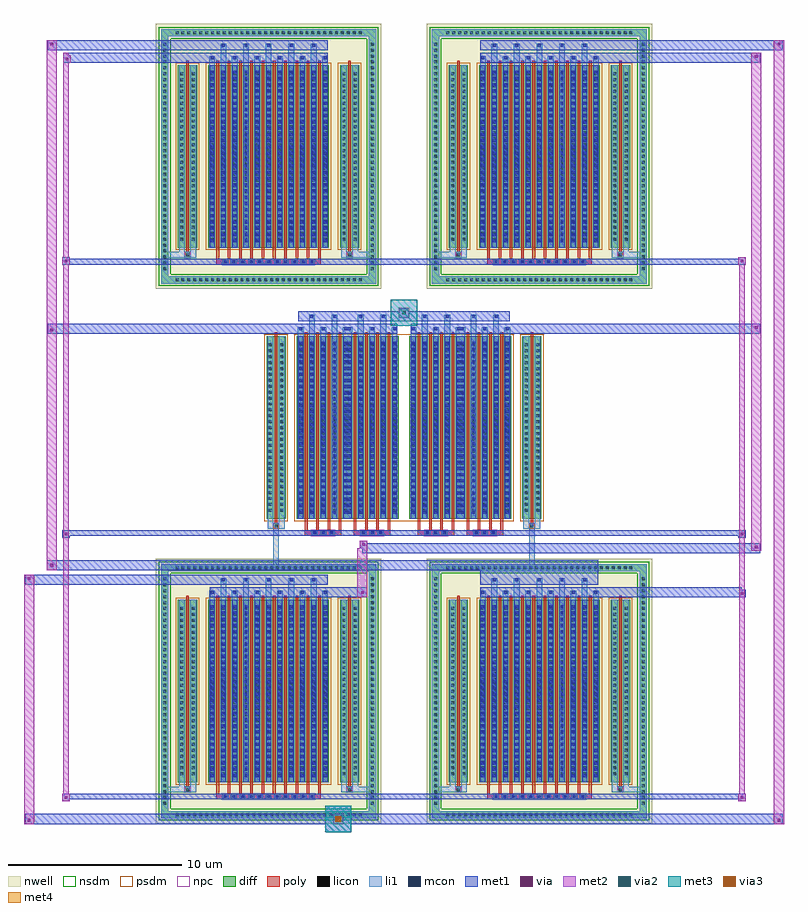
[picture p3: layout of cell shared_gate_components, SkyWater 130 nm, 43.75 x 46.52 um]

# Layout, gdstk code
import gdstk
lib = gdstk.Library(unit=1e-6, precision=5e-09)
def R(c, l, rs):  # rectangles x0, y0, x1, y1
    for r in rs: c.add(gdstk.rectangle(r[:2], r[2:], *l))
def A(c, l, x, y, w, h, nx, ny, dx, dy):  # array of equal rectangles
    R(c, l, [(x+i*dx, y+j*dy, x+i*dx+w, y+j*dy+h) for i in range(nx) for j in range(ny)])
def P(c, l, *ps):  # polygons
    for p in ps: c.add(gdstk.Polygon(p, *l))
nwell = (64, 20)
diff = (65, 20)
poly = (66, 20)
licon = (66, 44)
li1 = (67, 20)
mcon = (67, 44)
met1 = (68, 20)
via = (68, 44)
met2 = (69, 20)
via2 = (69, 44)
met3 = (70, 20)
via3 = (70, 44)
met4 = (71, 20)
nsdm = (93, 44)
psdm = (94, 20)
npc = (95, 20)

multiplier_a07f7352 = lib.new_cell('multiplier_a07f7352')
R(multiplier_a07f7352, diff, [(-3.265,-5.25,-2.165,5.25), (-1.525,-5.25,1.525,5.25)])
A(multiplier_a07f7352, poly, -0.665, -6.23, 0.33, 0.33, 3, 1, 0.5, 0)
A(multiplier_a07f7352, poly, -1.05, -5.9, 0.15, 0.4, 4, 1, 0.65, 0)
A(multiplier_a07f7352, poly, -1.05, -5.5, 0.15, 11, 4, 1, 0.65, 0)
R(multiplier_a07f7352, poly, [(-1.05,-6.23,1.05,-5.9), (-2.88,-5.83,-2.55,-5.5), (-2.88,-5.83,-2.55,-5.5), (-2.79,-5.5,-2.64,5.5)])
A(multiplier_a07f7352, licon, -0.585, -6.15, 0.17, 0.17, 3, 1, 0.5, 0)
A(multiplier_a07f7352, licon, -3.125, -4.845, 0.17, 0.17, 1, 29, 0, 0.34)
A(multiplier_a07f7352, licon, -2.475, -4.845, 0.17, 0.17, 1, 29, 0, 0.34)
A(multiplier_a07f7352, licon, -1.385, -4.845, 0.17, 0.17, 5, 29, 0.65, 0.34)
R(multiplier_a07f7352, licon, [(-2.8,-5.75,-2.63,-5.58)])
A(multiplier_a07f7352, li1, -0.665, -6.23, 0.33, 0.33, 3, 1, 0.5, 0)
A(multiplier_a07f7352, li1, -1.465, -5.25, 0.33, 10.5, 5, 1, 0.65, 0)
A(multiplier_a07f7352, li1, -1.385, -4.945, 0.17, 0.17, 5, 28, 0.65, 0.36)
A(multiplier_a07f7352, li1, -1.385, -4.945, 0.17, 9.89, 5, 1, 0.65, 0)
A(multiplier_a07f7352, li1, -3.205, -4.925, 0.33, 0.33, 1, 29, 0, 0.34)
A(multiplier_a07f7352, li1, -2.555, -4.925, 0.33, 0.33, 1, 29, 0, 0.34)
A(multiplier_a07f7352, li1, -1.465, -4.925, 0.33, 0.33, 5, 29, 0.65, 0.34)
A(multiplier_a07f7352, li1, -1.465, 5.25, 0.33, 0.52, 3, 1, 1.3, 0)
A(multiplier_a07f7352, li1, -1.385, 5.6, 0.17, 0.17, 3, 1, 1.3, 0)
R(multiplier_a07f7352, li1, [(-3.205,-5.83,-2.88,-5.5), (-3.205,-5.83,-2.875,-5.25), (-2.88,-5.83,-2.55,-5.5), (-2.555,-5.83,-2.225,-5.25), (-2.55,-5.83,-2.225,-5.5), (-3.205,-5.25,-2.875,5.25), (-2.555,-5.25,-2.225,5.25), (-0.815,5.25,-0.485,6.49), (0.485,5.25,0.815,6.49), (-0.735,6.32,-0.565,6.49), (0.565,6.32,0.735,6.49)])
A(multiplier_a07f7352, mcon, -0.585, -6.15, 0.17, 0.17, 3, 1, 0.5, 0)
A(multiplier_a07f7352, mcon, -1.385, -4.945, 0.17, 0.17, 5, 28, 0.65, 0.36)
A(multiplier_a07f7352, mcon, -1.385, 5.6, 0.17, 0.17, 3, 1, 1.3, 0)
R(multiplier_a07f7352, mcon, [(-0.735,6.32,-0.565,6.49), (0.565,6.32,0.735,6.49)])
A(multiplier_a07f7352, met1, -0.645, -6.21, 0.29, 0.29, 3, 1, 0.5, 0)
A(multiplier_a07f7352, met1, -1.445, -5.25, 0.29, 10.5, 5, 1, 0.65, 0)
A(multiplier_a07f7352, met1, -1.445, -5.005, 0.29, 0.29, 5, 28, 0.65, 0.36)
A(multiplier_a07f7352, met1, -1.445, 5.54, 0.29, 0.29, 3, 1, 1.3, 0)
R(multiplier_a07f7352, met1, [(-1.05,-6.23,1.05,-5.9), (-1.445,5.395,1.445,5.975), (-1.445,6.115,1.445,6.695), (-0.795,6.26,-0.505,6.55), (0.505,6.26,0.795,6.55)])
R(multiplier_a07f7352, psdm, [(-3.395,-5.38,-2.035,5.38), (-1.655,-5.38,1.655,5.38)])
A(multiplier_a07f7352, npc, -0.685, -6.25, 0.37, 0.37, 3, 1, 0.5, 0)
R(multiplier_a07f7352, npc, [(-0.685,-6.25,0.185,-5.88), (-0.685,-6.25,0.185,-5.88), (-0.185,-6.25,0.685,-5.88), (-0.185,-6.25,0.685,-5.88), (-2.9,-5.85,-2.53,-5.48)])

multiplier_22e959f4 = lib.new_cell('multiplier_22e959f4')
R(multiplier_22e959f4, diff, [(-1.525,-5.25,1.525,5.25)])
A(multiplier_22e959f4, poly, -0.665, -6.23, 0.33, 0.33, 3, 1, 0.5, 0)
A(multiplier_22e959f4, poly, -1.05, -5.9, 0.15, 0.4, 4, 1, 0.65, 0)
A(multiplier_22e959f4, poly, -1.05, -5.5, 0.15, 11, 4, 1, 0.65, 0)
R(multiplier_22e959f4, poly, [(-1.05,-6.23,1.05,-5.9)])
A(multiplier_22e959f4, licon, -0.585, -6.15, 0.17, 0.17, 3, 1, 0.5, 0)
A(multiplier_22e959f4, licon, -1.385, -4.845, 0.17, 0.17, 5, 29, 0.65, 0.34)
A(multiplier_22e959f4, li1, -0.665, -6.23, 0.33, 0.33, 3, 1, 0.5, 0)
A(multiplier_22e959f4, li1, -1.465, -5.25, 0.33, 10.5, 5, 1, 0.65, 0)
A(multiplier_22e959f4, li1, -1.385, -4.945, 0.17, 0.17, 5, 28, 0.65, 0.36)
A(multiplier_22e959f4, li1, -1.385, -4.945, 0.17, 9.89, 5, 1, 0.65, 0)
A(multiplier_22e959f4, li1, -1.465, -4.925, 0.33, 0.33, 5, 29, 0.65, 0.34)
A(multiplier_22e959f4, li1, -1.465, 5.25, 0.33, 0.52, 3, 1, 1.3, 0)
A(multiplier_22e959f4, li1, -1.385, 5.6, 0.17, 0.17, 3, 1, 1.3, 0)
R(multiplier_22e959f4, li1, [(-0.815,5.25,-0.485,6.49), (0.485,5.25,0.815,6.49), (-0.735,6.32,-0.565,6.49), (0.565,6.32,0.735,6.49)])
A(multiplier_22e959f4, mcon, -0.585, -6.15, 0.17, 0.17, 3, 1, 0.5, 0)
A(multiplier_22e959f4, mcon, -1.385, -4.945, 0.17, 0.17, 5, 28, 0.65, 0.36)
A(multiplier_22e959f4, mcon, -1.385, 5.6, 0.17, 0.17, 3, 1, 1.3, 0)
R(multiplier_22e959f4, mcon, [(-0.735,6.32,-0.565,6.49), (0.565,6.32,0.735,6.49)])
A(multiplier_22e959f4, met1, -0.645, -6.21, 0.29, 0.29, 3, 1, 0.5, 0)
A(multiplier_22e959f4, met1, -1.445, -5.25, 0.29, 10.5, 5, 1, 0.65, 0)
A(multiplier_22e959f4, met1, -1.445, -5.005, 0.29, 0.29, 5, 28, 0.65, 0.36)
A(multiplier_22e959f4, met1, -1.445, 5.54, 0.29, 0.29, 3, 1, 1.3, 0)
R(multiplier_22e959f4, met1, [(-1.05,-6.23,1.05,-5.9), (-1.445,5.395,1.445,5.975), (-1.445,6.115,1.445,6.695), (-0.795,6.26,-0.505,6.55), (0.505,6.26,0.795,6.55)])
R(multiplier_22e959f4, psdm, [(-1.655,-5.38,1.655,5.38)])
A(multiplier_22e959f4, npc, -0.685, -6.25, 0.37, 0.37, 3, 1, 0.5, 0)
R(multiplier_22e959f4, npc, [(-0.685,-6.25,0.185,-5.88), (-0.685,-6.25,0.185,-5.88), (-0.185,-6.25,0.685,-5.88), (-0.185,-6.25,0.685,-5.88)])

multiplier_5999f575 = lib.new_cell('multiplier_5999f575')
R(multiplier_5999f575, diff, [(-1.525,-5.25,1.525,5.25), (2.165,-5.25,3.265,5.25)])
A(multiplier_5999f575, poly, -0.665, -6.23, 0.33, 0.33, 3, 1, 0.5, 0)
A(multiplier_5999f575, poly, -1.05, -5.9, 0.15, 0.4, 4, 1, 0.65, 0)
A(multiplier_5999f575, poly, -1.05, -5.5, 0.15, 11, 4, 1, 0.65, 0)
R(multiplier_5999f575, poly, [(-1.05,-6.23,1.05,-5.9), (2.55,-5.83,2.88,-5.5), (2.55,-5.83,2.88,-5.5), (2.64,-5.5,2.79,5.5)])
A(multiplier_5999f575, licon, -0.585, -6.15, 0.17, 0.17, 3, 1, 0.5, 0)
A(multiplier_5999f575, licon, -1.385, -4.845, 0.17, 0.17, 5, 29, 0.65, 0.34)
A(multiplier_5999f575, licon, 2.305, -4.845, 0.17, 0.17, 1, 29, 0, 0.34)
A(multiplier_5999f575, licon, 2.955, -4.845, 0.17, 0.17, 1, 29, 0, 0.34)
R(multiplier_5999f575, licon, [(2.63,-5.75,2.8,-5.58)])
A(multiplier_5999f575, li1, -0.665, -6.23, 0.33, 0.33, 3, 1, 0.5, 0)
A(multiplier_5999f575, li1, -1.465, -5.25, 0.33, 10.5, 5, 1, 0.65, 0)
A(multiplier_5999f575, li1, -1.385, -4.945, 0.17, 0.17, 5, 28, 0.65, 0.36)
A(multiplier_5999f575, li1, -1.385, -4.945, 0.17, 9.89, 5, 1, 0.65, 0)
A(multiplier_5999f575, li1, -1.465, -4.925, 0.33, 0.33, 5, 29, 0.65, 0.34)
A(multiplier_5999f575, li1, 2.225, -4.925, 0.33, 0.33, 1, 29, 0, 0.34)
A(multiplier_5999f575, li1, 2.875, -4.925, 0.33, 0.33, 1, 29, 0, 0.34)
A(multiplier_5999f575, li1, -1.465, 5.25, 0.33, 0.52, 3, 1, 1.3, 0)
A(multiplier_5999f575, li1, -1.385, 5.6, 0.17, 0.17, 3, 1, 1.3, 0)
R(multiplier_5999f575, li1, [(2.225,-5.83,2.55,-5.5), (2.225,-5.83,2.555,-5.25), (2.55,-5.83,2.88,-5.5), (2.875,-5.83,3.205,-5.25), (2.88,-5.83,3.205,-5.5), (2.225,-5.25,2.555,5.25), (2.875,-5.25,3.205,5.25), (-0.815,5.25,-0.485,6.49), (0.485,5.25,0.815,6.49), (-0.735,6.32,-0.565,6.49), (0.565,6.32,0.735,6.49)])
A(multiplier_5999f575, mcon, -0.585, -6.15, 0.17, 0.17, 3, 1, 0.5, 0)
A(multiplier_5999f575, mcon, -1.385, -4.945, 0.17, 0.17, 5, 28, 0.65, 0.36)
A(multiplier_5999f575, mcon, -1.385, 5.6, 0.17, 0.17, 3, 1, 1.3, 0)
R(multiplier_5999f575, mcon, [(-0.735,6.32,-0.565,6.49), (0.565,6.32,0.735,6.49)])
A(multiplier_5999f575, met1, -0.645, -6.21, 0.29, 0.29, 3, 1, 0.5, 0)
A(multiplier_5999f575, met1, -1.445, -5.25, 0.29, 10.5, 5, 1, 0.65, 0)
A(multiplier_5999f575, met1, -1.445, -5.005, 0.29, 0.29, 5, 28, 0.65, 0.36)
A(multiplier_5999f575, met1, -1.445, 5.54, 0.29, 0.29, 3, 1, 1.3, 0)
R(multiplier_5999f575, met1, [(-1.05,-6.23,1.05,-5.9), (-1.445,5.395,1.445,5.975), (-1.445,6.115,1.445,6.695), (-0.795,6.26,-0.505,6.55), (0.505,6.26,0.795,6.55)])
R(multiplier_5999f575, psdm, [(-1.655,-5.38,1.655,5.38), (2.035,-5.38,3.395,5.38)])
A(multiplier_5999f575, npc, -0.685, -6.25, 0.37, 0.37, 3, 1, 0.5, 0)
R(multiplier_5999f575, npc, [(-0.685,-6.25,0.185,-5.88), (-0.685,-6.25,0.185,-5.88), (-0.185,-6.25,0.685,-5.88), (-0.185,-6.25,0.685,-5.88), (2.53,-5.85,2.9,-5.48)])

unnamed_9f31214b_1 = lib.new_cell('Unnamed_9f31214b$1')
A(unnamed_9f31214b_1, diff, -5.475, -7.315, 0.41, 0.41, 32, 2, 0.34, 14.22)
A(unnamed_9f31214b_1, diff, -6.185, -6.665, 0.41, 0.41, 1, 39, 0, 0.34)
A(unnamed_9f31214b_1, diff, 5.775, -6.665, 0.41, 0.41, 1, 39, 0, 0.34)
R(unnamed_9f31214b_1, diff, [(-5.475,-7.315,5.475,-6.905), (-6.185,-6.665,-5.775,6.665), (5.775,-6.665,6.185,6.665), (-5.475,6.905,5.475,7.315)])
P(unnamed_9f31214b_1, diff, [(6.185,7.315),(-6.185,7.315),(-6.185,-6.905),(-5.775,-6.905),(-5.775,6.905),(5.775,6.905),(5.775,-6.905),(-5.775,-6.905),(-6.185,-6.905),(-6.185,-7.315),(6.185,-7.315)])
A(unnamed_9f31214b_1, licon, -5.355, -7.195, 0.17, 0.17, 32, 2, 0.34, 14.22)
A(unnamed_9f31214b_1, licon, -6.065, -6.545, 0.17, 0.17, 1, 39, 0, 0.34)
A(unnamed_9f31214b_1, licon, 5.895, -6.545, 0.17, 0.17, 1, 39, 0, 0.34)
A(unnamed_9f31214b_1, li1, -5.435, -7.275, 0.33, 0.33, 32, 2, 0.34, 14.22)
A(unnamed_9f31214b_1, li1, -6.145, -6.625, 0.33, 0.33, 1, 39, 0, 0.34)
A(unnamed_9f31214b_1, li1, 5.815, -6.625, 0.33, 0.33, 1, 39, 0, 0.34)
R(unnamed_9f31214b_1, li1, [(-6.185,-7.315,-5.775,-6.905), (-6.185,-7.315,-5.775,-6.905), (-5.775,-7.315,5.775,-6.905), (5.775,-7.315,6.185,-6.905), (5.775,-7.315,6.185,-6.905), (-6.185,-6.905,-5.775,6.905), (5.775,-6.905,6.185,6.905), (-6.185,6.905,-5.775,7.315), (-6.185,6.905,-5.775,7.315), (-5.775,6.905,5.775,7.315), (5.775,6.905,6.185,7.315), (5.775,6.905,6.185,7.315)])
P(unnamed_9f31214b_1, nsdm, [(6.315,7.445),(-6.315,7.445),(-6.315,-6.775),(-5.645,-6.775),(-5.645,6.775),(5.645,6.775),(5.645,-6.775),(-5.645,-6.775),(-6.315,-6.775),(-6.315,-7.445),(6.315,-7.445)])

straight_route_c804f6a0 = lib.new_cell('straight_route_c804f6a0')
R(straight_route_c804f6a0, li1, [(-6.185,-5.83,-4.83,-5.5)])

straight_route_41e660f4 = lib.new_cell('straight_route_41e660f4')
R(straight_route_41e660f4, li1, [(4.5,-5.83,6.185,-5.5)])

unnamed_ef448379 = lib.new_cell('Unnamed_ef448379')
R(unnamed_ef448379, nwell, [(-6.495,-7.625,6.495,7.625)])
R(unnamed_ef448379, diff, [(-5.215,-5.25,-4.115,5.25), (-3.475,-5.25,3.475,5.25), (4.115,-5.25,5.215,5.25)])
A(unnamed_ef448379, poly, -2.665, -6.23, 0.33, 0.33, 11, 1, 0.5, 0)
A(unnamed_ef448379, poly, -3, -5.9, 0.15, 0.4, 10, 1, 0.65, 0)
A(unnamed_ef448379, poly, -3, -5.5, 0.15, 11, 10, 1, 0.65, 0)
R(unnamed_ef448379, poly, [(-3,-6.23,3,-5.9), (-4.83,-5.83,-4.5,-5.5), (-4.83,-5.83,-4.5,-5.5), (4.5,-5.83,4.83,-5.5), (4.5,-5.83,4.83,-5.5), (-4.74,-5.5,-4.59,5.5), (4.59,-5.5,4.74,5.5)])
A(unnamed_ef448379, licon, -2.585, -6.15, 0.17, 0.17, 11, 1, 0.5, 0)
A(unnamed_ef448379, licon, -5.075, -4.845, 0.17, 0.17, 1, 29, 0, 0.34)
A(unnamed_ef448379, licon, -4.425, -4.845, 0.17, 0.17, 1, 29, 0, 0.34)
A(unnamed_ef448379, licon, -3.335, -4.845, 0.17, 0.17, 11, 29, 0.65, 0.34)
A(unnamed_ef448379, licon, 4.255, -4.845, 0.17, 0.17, 1, 29, 0, 0.34)
A(unnamed_ef448379, licon, 4.905, -4.845, 0.17, 0.17, 1, 29, 0, 0.34)
R(unnamed_ef448379, licon, [(-4.75,-5.75,-4.58,-5.58), (4.58,-5.75,4.75,-5.58)])
A(unnamed_ef448379, li1, -2.665, -6.23, 0.33, 0.33, 11, 1, 0.5, 0)
A(unnamed_ef448379, li1, -3.415, -5.25, 0.33, 10.5, 11, 1, 0.65, 0)
A(unnamed_ef448379, li1, -3.335, -4.945, 0.17, 0.17, 11, 28, 0.65, 0.36)
A(unnamed_ef448379, li1, -3.335, -4.945, 0.17, 9.89, 11, 1, 0.65, 0)
A(unnamed_ef448379, li1, -5.155, -4.925, 0.33, 0.33, 1, 29, 0, 0.34)
A(unnamed_ef448379, li1, -4.505, -4.925, 0.33, 0.33, 1, 29, 0, 0.34)
A(unnamed_ef448379, li1, -3.415, -4.925, 0.33, 0.33, 11, 29, 0.65, 0.34)
A(unnamed_ef448379, li1, 4.175, -4.925, 0.33, 0.33, 1, 29, 0, 0.34)
A(unnamed_ef448379, li1, 4.825, -4.925, 0.33, 0.33, 1, 29, 0, 0.34)
A(unnamed_ef448379, li1, -3.415, 5.25, 0.33, 0.52, 6, 1, 1.3, 0)
A(unnamed_ef448379, li1, -2.765, 5.25, 0.33, 1.24, 5, 1, 1.3, 0)
A(unnamed_ef448379, li1, -3.335, 5.6, 0.17, 0.17, 6, 1, 1.3, 0)
A(unnamed_ef448379, li1, -2.685, 6.32, 0.17, 0.17, 5, 1, 1.3, 0)
R(unnamed_ef448379, li1, [(-5.155,-5.83,-4.83,-5.5), (-5.155,-5.83,-4.825,-5.25), (-4.83,-5.83,-4.5,-5.5), (-4.505,-5.83,-4.175,-5.25), (-4.5,-5.83,-4.175,-5.5), (4.175,-5.83,4.5,-5.5), (4.175,-5.83,4.505,-5.25), (4.5,-5.83,4.83,-5.5), (4.825,-5.83,5.155,-5.25), (4.83,-5.83,5.155,-5.5), (-5.155,-5.25,-4.825,5.25), (-4.505,-5.25,-4.175,5.25), (4.175,-5.25,4.505,5.25), (4.825,-5.25,5.155,5.25)])
A(unnamed_ef448379, mcon, -2.585, -6.15, 0.17, 0.17, 11, 1, 0.5, 0)
A(unnamed_ef448379, mcon, -3.335, -4.945, 0.17, 0.17, 11, 28, 0.65, 0.36)
A(unnamed_ef448379, mcon, -3.335, 5.6, 0.17, 0.17, 6, 1, 1.3, 0)
A(unnamed_ef448379, mcon, -2.685, 6.32, 0.17, 0.17, 5, 1, 1.3, 0)
A(unnamed_ef448379, met1, -2.645, -6.21, 0.29, 0.29, 11, 1, 0.5, 0)
A(unnamed_ef448379, met1, -3.395, -5.25, 0.29, 10.5, 11, 1, 0.65, 0)
A(unnamed_ef448379, met1, -3.395, -5.005, 0.29, 0.29, 11, 28, 0.65, 0.36)
A(unnamed_ef448379, met1, -3.395, 5.54, 0.29, 0.29, 6, 1, 1.3, 0)
A(unnamed_ef448379, met1, -2.745, 6.26, 0.29, 0.29, 5, 1, 1.3, 0)
R(unnamed_ef448379, met1, [(-3,-6.23,3,-5.9), (-3.395,5.395,3.395,5.975), (-3.395,6.115,3.395,6.695)])
R(unnamed_ef448379, psdm, [(-5.345,-5.38,-3.985,5.38), (-3.605,-5.38,3.605,5.38), (3.985,-5.38,5.345,5.38)])
A(unnamed_ef448379, npc, -2.685, -6.25, 0.37, 0.37, 11, 1, 0.5, 0)
R(unnamed_ef448379, npc, [(-2.685,-6.25,-1.815,-5.88), (-2.685,-6.25,-1.815,-5.88), (-2.185,-6.25,-1.315,-5.88), (-2.185,-6.25,-1.315,-5.88), (-1.685,-6.25,-0.815,-5.88), (-1.685,-6.25,-0.815,-5.88), (-1.185,-6.25,-0.315,-5.88), (-1.185,-6.25,-0.315,-5.88), (-0.685,-6.25,0.185,-5.88), (-0.685,-6.25,0.185,-5.88), (-0.185,-6.25,0.685,-5.88), (-0.185,-6.25,0.685,-5.88), (0.315,-6.25,1.185,-5.88), (0.315,-6.25,1.185,-5.88), (0.815,-6.25,1.685,-5.88), (0.815,-6.25,1.685,-5.88), (1.315,-6.25,2.185,-5.88), (1.315,-6.25,2.185,-5.88), (1.815,-6.25,2.685,-5.88), (1.815,-6.25,2.685,-5.88), (-4.85,-5.85,-4.48,-5.48), (4.48,-5.85,4.85,-5.48)])
unnamed_ef448379.add(gdstk.Reference(unnamed_9f31214b_1, (0,0)))
unnamed_ef448379.add(gdstk.Reference(straight_route_c804f6a0, (0,0)))
unnamed_ef448379.add(gdstk.Reference(straight_route_41e660f4, (0,0)))

unnamed_cbfe3d61 = lib.new_cell('Unnamed_cbfe3d61')
R(unnamed_cbfe3d61, nwell, [(-6.495,-7.625,6.495,7.625)])
R(unnamed_cbfe3d61, diff, [(-5.215,-5.25,-4.115,5.25), (-3.475,-5.25,3.475,5.25), (4.115,-5.25,5.215,5.25)])
A(unnamed_cbfe3d61, poly, -2.665, -6.23, 0.33, 0.33, 11, 1, 0.5, 0)
A(unnamed_cbfe3d61, poly, -3, -5.9, 0.15, 0.4, 10, 1, 0.65, 0)
A(unnamed_cbfe3d61, poly, -3, -5.5, 0.15, 11, 10, 1, 0.65, 0)
R(unnamed_cbfe3d61, poly, [(-3,-6.23,3,-5.9), (-4.83,-5.83,-4.5,-5.5), (-4.83,-5.83,-4.5,-5.5), (4.5,-5.83,4.83,-5.5), (4.5,-5.83,4.83,-5.5), (-4.74,-5.5,-4.59,5.5), (4.59,-5.5,4.74,5.5)])
A(unnamed_cbfe3d61, licon, -2.585, -6.15, 0.17, 0.17, 11, 1, 0.5, 0)
A(unnamed_cbfe3d61, licon, -5.075, -4.845, 0.17, 0.17, 1, 29, 0, 0.34)
A(unnamed_cbfe3d61, licon, -4.425, -4.845, 0.17, 0.17, 1, 29, 0, 0.34)
A(unnamed_cbfe3d61, licon, -3.335, -4.845, 0.17, 0.17, 11, 29, 0.65, 0.34)
A(unnamed_cbfe3d61, licon, 4.255, -4.845, 0.17, 0.17, 1, 29, 0, 0.34)
A(unnamed_cbfe3d61, licon, 4.905, -4.845, 0.17, 0.17, 1, 29, 0, 0.34)
R(unnamed_cbfe3d61, licon, [(-4.75,-5.75,-4.58,-5.58), (4.58,-5.75,4.75,-5.58)])
A(unnamed_cbfe3d61, li1, -2.665, -6.23, 0.33, 0.33, 11, 1, 0.5, 0)
A(unnamed_cbfe3d61, li1, -3.415, -5.25, 0.33, 10.5, 11, 1, 0.65, 0)
A(unnamed_cbfe3d61, li1, -3.335, -4.945, 0.17, 0.17, 11, 28, 0.65, 0.36)
A(unnamed_cbfe3d61, li1, -3.335, -4.945, 0.17, 9.89, 11, 1, 0.65, 0)
A(unnamed_cbfe3d61, li1, -5.155, -4.925, 0.33, 0.33, 1, 29, 0, 0.34)
A(unnamed_cbfe3d61, li1, -4.505, -4.925, 0.33, 0.33, 1, 29, 0, 0.34)
A(unnamed_cbfe3d61, li1, -3.415, -4.925, 0.33, 0.33, 11, 29, 0.65, 0.34)
A(unnamed_cbfe3d61, li1, 4.175, -4.925, 0.33, 0.33, 1, 29, 0, 0.34)
A(unnamed_cbfe3d61, li1, 4.825, -4.925, 0.33, 0.33, 1, 29, 0, 0.34)
A(unnamed_cbfe3d61, li1, -3.415, 5.25, 0.33, 0.52, 6, 1, 1.3, 0)
A(unnamed_cbfe3d61, li1, -2.765, 5.25, 0.33, 1.24, 5, 1, 1.3, 0)
A(unnamed_cbfe3d61, li1, -3.335, 5.6, 0.17, 0.17, 6, 1, 1.3, 0)
A(unnamed_cbfe3d61, li1, -2.685, 6.32, 0.17, 0.17, 5, 1, 1.3, 0)
R(unnamed_cbfe3d61, li1, [(-5.155,-5.83,-4.83,-5.5), (-5.155,-5.83,-4.825,-5.25), (-4.83,-5.83,-4.5,-5.5), (-4.505,-5.83,-4.175,-5.25), (-4.5,-5.83,-4.175,-5.5), (4.175,-5.83,4.5,-5.5), (4.175,-5.83,4.505,-5.25), (4.5,-5.83,4.83,-5.5), (4.825,-5.83,5.155,-5.25), (4.83,-5.83,5.155,-5.5), (-5.155,-5.25,-4.825,5.25), (-4.505,-5.25,-4.175,5.25), (4.175,-5.25,4.505,5.25), (4.825,-5.25,5.155,5.25)])
A(unnamed_cbfe3d61, mcon, -2.585, -6.15, 0.17, 0.17, 11, 1, 0.5, 0)
A(unnamed_cbfe3d61, mcon, -3.335, -4.945, 0.17, 0.17, 11, 28, 0.65, 0.36)
A(unnamed_cbfe3d61, mcon, -3.335, 5.6, 0.17, 0.17, 6, 1, 1.3, 0)
A(unnamed_cbfe3d61, mcon, -2.685, 6.32, 0.17, 0.17, 5, 1, 1.3, 0)
A(unnamed_cbfe3d61, met1, -2.645, -6.21, 0.29, 0.29, 11, 1, 0.5, 0)
A(unnamed_cbfe3d61, met1, -3.395, -5.25, 0.29, 10.5, 11, 1, 0.65, 0)
A(unnamed_cbfe3d61, met1, -3.395, -5.005, 0.29, 0.29, 11, 28, 0.65, 0.36)
A(unnamed_cbfe3d61, met1, -3.395, 5.54, 0.29, 0.29, 6, 1, 1.3, 0)
A(unnamed_cbfe3d61, met1, -2.745, 6.26, 0.29, 0.29, 5, 1, 1.3, 0)
R(unnamed_cbfe3d61, met1, [(-3,-6.23,3,-5.9), (-3.395,5.395,3.395,5.975), (-3.395,6.115,3.395,6.695)])
R(unnamed_cbfe3d61, psdm, [(-5.345,-5.38,-3.985,5.38), (-3.605,-5.38,3.605,5.38), (3.985,-5.38,5.345,5.38)])
A(unnamed_cbfe3d61, npc, -2.685, -6.25, 0.37, 0.37, 11, 1, 0.5, 0)
R(unnamed_cbfe3d61, npc, [(-2.685,-6.25,-1.815,-5.88), (-2.685,-6.25,-1.815,-5.88), (-2.185,-6.25,-1.315,-5.88), (-2.185,-6.25,-1.315,-5.88), (-1.685,-6.25,-0.815,-5.88), (-1.685,-6.25,-0.815,-5.88), (-1.185,-6.25,-0.315,-5.88), (-1.185,-6.25,-0.315,-5.88), (-0.685,-6.25,0.185,-5.88), (-0.685,-6.25,0.185,-5.88), (-0.185,-6.25,0.685,-5.88), (-0.185,-6.25,0.685,-5.88), (0.315,-6.25,1.185,-5.88), (0.315,-6.25,1.185,-5.88), (0.815,-6.25,1.685,-5.88), (0.815,-6.25,1.685,-5.88), (1.315,-6.25,2.185,-5.88), (1.315,-6.25,2.185,-5.88), (1.815,-6.25,2.685,-5.88), (1.815,-6.25,2.685,-5.88), (-4.85,-5.85,-4.48,-5.48), (4.48,-5.85,4.85,-5.48)])
unnamed_cbfe3d61.add(gdstk.Reference(unnamed_9f31214b_1, (0,0)))
unnamed_cbfe3d61.add(gdstk.Reference(straight_route_c804f6a0, (0,0)))
unnamed_cbfe3d61.add(gdstk.Reference(straight_route_41e660f4, (0,0)))

route_quad_f82319c9 = lib.new_cell('route_quad_f82319c9')
R(route_quad_f82319c9, met1, [(-10.795,-6.23,10.795,-5.9)])

c_2_multiplier_shared_gate = lib.new_cell('2_multiplier_shared_gate_comps')
c_2_multiplier_shared_gate.add(gdstk.Reference(unnamed_ef448379, (-7.795,0)))
c_2_multiplier_shared_gate.add(gdstk.Reference(unnamed_cbfe3d61, (7.795,0)))
c_2_multiplier_shared_gate.add(gdstk.Reference(route_quad_f82319c9, (0,0)))

straight_route_79041f12 = lib.new_cell('straight_route_79041f12')
R(straight_route_79041f12, li1, [(-7.53,-8.485,-7.2,-5.72)])

straight_route_283b9338 = lib.new_cell('straight_route_283b9338')
R(straight_route_283b9338, li1, [(7.2,-8.485,7.53,-5.72)])

route_quad_f5f0b040 = lib.new_cell('route_quad_f5f0b040')
R(route_quad_f5f0b040, psdm, [(-6.305,-5.6,6.305,5.16)])

route_quad_0f0ba6f5 = lib.new_cell('route_quad_0f0ba6f5')
R(route_quad_0f0ba6f5, met1, [(-6.095,5.175,-0.395,5.755)])

route_quad_750bfa83 = lib.new_cell('route_quad_750bfa83')
R(route_quad_750bfa83, met1, [(0.395,5.175,6.095,5.755)])

route_quad_2ab3f407 = lib.new_cell('route_quad_2ab3f407')
R(route_quad_2ab3f407, met1, [(-6.095,5.895,6.095,6.475)])

via_stack_daa6e7a5 = lib.new_cell('via_stack_daa6e7a5')
R(via_stack_daa6e7a5, met1, [(-0.215,-0.215,0.215,0.215)])
R(via_stack_daa6e7a5, via, [(-0.075,-0.075,0.075,0.075)])
R(via_stack_daa6e7a5, met2, [(-0.29,-0.29,0.29,0.29)])
R(via_stack_daa6e7a5, via2, [(-0.1,-0.1,0.1,0.1)])
R(via_stack_daa6e7a5, met3, [(-0.75,-0.75,0.75,0.75)])

route_quad_128533b8 = lib.new_cell('route_quad_128533b8')
R(route_quad_128533b8, met1, [(-5.7,-6.45,5.7,-6.12)])

c_route_db19c842 = lib.new_cell('c_route_db19c842')
R(c_route_db19c842, met1, [(-19.665,-21.72,-19.235,-21.29), (-19.665,-21.62,-10.795,-21.29), (-19.665,9.16,-10.795,9.49), (-19.665,9.16,-19.235,9.59)])
R(c_route_db19c842, via, [(-19.525,-21.58,-19.375,-21.43), (-19.525,9.3,-19.375,9.45)])
R(c_route_db19c842, met2, [(-19.665,-21.72,-19.235,-21.29), (-19.615,-21.72,-19.285,9.59), (-19.285,-21.72,-19.235,-21.29), (-19.615,-21.67,-19.285,-21.34), (-19.665,9.16,-19.235,9.59), (-19.285,9.16,-19.235,9.59), (-19.615,9.21,-19.285,9.54)])

c_route_297e2d02 = lib.new_cell('c_route_297e2d02')
R(c_route_297e2d02, met1, [(19.235,-21.72,19.665,-21.29), (10.795,-21.62,19.665,-21.29), (10.795,9.16,19.665,9.49), (19.235,9.16,19.665,9.59)])
R(c_route_297e2d02, via, [(19.375,-21.58,19.525,-21.43), (19.375,9.3,19.525,9.45)])
R(c_route_297e2d02, met2, [(19.235,-21.72,19.665,-21.29), (19.285,-21.72,19.615,9.59), (19.615,-21.72,19.665,-21.29), (19.285,-21.67,19.615,-21.34), (19.235,9.16,19.665,9.59), (19.615,9.16,19.665,9.59), (19.285,9.21,19.615,9.54)])

straight_route_97afe264 = lib.new_cell('straight_route_97afe264')
R(straight_route_97afe264, met1, [(-19.665,-6.55,-19.235,-6.12), (-19.45,-6.45,-5.7,-6.12)])
R(straight_route_97afe264, via, [(-19.525,-6.41,-19.375,-6.26)])
R(straight_route_97afe264, met2, [(-19.615,-6.5,-19.285,-6.17)])

straight_route_268614ec = lib.new_cell('straight_route_268614ec')
R(straight_route_268614ec, met1, [(19.235,-6.55,19.665,-6.12), (5.7,-6.45,19.45,-6.12)])
R(straight_route_268614ec, via, [(19.375,-6.41,19.525,-6.26)])
R(straight_route_268614ec, met2, [(19.285,-6.5,19.615,-6.17)])

l_route_53888900 = lib.new_cell('L_route_53888900')
R(l_route_53888900, met1, [(-19.615,20.785,-11.19,21.365), (-19.615,20.785,-19.185,21.215), (-19.615,20.785,-19.185,21.215)])
R(l_route_53888900, via, [(-19.475,20.925,-19.325,21.075)])
R(l_route_53888900, met2, [(-19.615,9.59,-19.285,21.365), (-19.615,20.785,-19.185,21.215), (-19.565,20.835,-19.235,21.165)])

straight_route_ce1305f3 = lib.new_cell('straight_route_ce1305f3')
R(straight_route_ce1305f3, met1, [(11.19,-9.995,19.45,-9.415), (19.235,-9.995,19.665,-9.565)])
R(straight_route_ce1305f3, via, [(19.375,-9.855,19.525,-9.705)])
R(straight_route_ce1305f3, met2, [(19.285,-9.945,19.615,-9.615)])

c_route_5a15a20f = lib.new_cell('c_route_5a15a20f')
R(c_route_5a15a20f, met1, [(-20.495,5.175,-20.065,5.605), (-20.495,5.175,-6.095,5.755), (-20.495,21.505,-11.19,22.085), (-20.495,21.655,-20.065,22.085)])
R(c_route_5a15a20f, via, [(-20.355,5.315,-20.205,5.465), (-20.355,21.795,-20.205,21.945)])
R(c_route_5a15a20f, met2, [(-20.57,5.175,-19.99,22.085), (-20.495,5.175,-20.065,5.605), (-20.065,5.175,-19.99,5.605), (-20.445,5.225,-20.115,5.555), (-20.495,21.655,-20.065,22.085), (-20.065,21.655,-19.99,22.085), (-20.445,21.705,-20.115,22.035)])

compass_8200b508_3 = lib.new_cell('compass_8200b508$3')
R(compass_8200b508_3, met1, [(-3.395,-0.29,3.395,0.29)])

unnamed_96bf62a7 = lib.new_cell('Unnamed_96bf62a7')
unnamed_96bf62a7.add(gdstk.Reference(compass_8200b508_3, (3.395,0.29)))

straight_route_ebdb395f = lib.new_cell('straight_route_ebdb395f')
R(straight_route_ebdb395f, met1, [(4.4,-8.695,11.19,-8.435)])

l_route_504ff9c7 = lib.new_cell('L_route_504ff9c7')
R(l_route_504ff9c7, met1, [(-20.57,-8.435,4.4,-7.855), (-20.495,-8.36,-20.065,-7.93), (-20.495,-8.36,-20.065,-7.93)])
R(l_route_504ff9c7, via, [(-20.355,-8.22,-20.205,-8.07)])
R(l_route_504ff9c7, met2, [(-20.57,-8.435,-19.99,-7.855), (-20.57,-8.435,-19.99,5.175), (-20.445,-8.31,-20.115,-7.98)])

c_route_2d13376d = lib.new_cell('c_route_2d13376d')
R(c_route_2d13376d, met1, [(6.095,5.175,20.495,5.755), (20.065,5.325,20.495,5.755), (11.19,20.785,20.495,21.365), (20.065,20.935,20.495,21.365)])
R(c_route_2d13376d, via, [(20.205,5.465,20.355,5.615), (20.205,21.075,20.355,21.225)])
R(c_route_2d13376d, met2, [(19.99,5.325,20.57,21.365), (20.065,5.325,20.495,5.755), (20.495,5.325,20.57,5.755), (20.115,5.375,20.445,5.705), (20.065,20.935,20.495,21.365), (20.495,20.935,20.57,21.365), (20.115,20.985,20.445,21.315)])

l_route_aaaa4b9a = lib.new_cell('L_route_aaaa4b9a')
R(l_route_aaaa4b9a, met1, [(-4.4,-9.995,-2.11,-9.415), (-2.615,-9.92,-2.185,-9.49), (-2.615,-9.92,-2.185,-9.49)])
R(l_route_aaaa4b9a, via, [(-2.475,-9.78,-2.325,-9.63)])
R(l_route_aaaa4b9a, met2, [(-2.69,-9.995,-2.11,-9.415), (-2.69,-9.995,-2.11,-7.165), (-2.565,-9.87,-2.235,-9.54)])

c_route_74ab7015 = lib.new_cell('c_route_74ab7015')
R(c_route_74ab7015, met1, [(-2.4,-7.455,20.495,-6.875), (20.065,-7.305,20.495,-6.875), (6.095,5.175,20.495,5.755), (20.065,5.325,20.495,5.755)])
R(c_route_74ab7015, via, [(20.205,-7.165,20.355,-7.015), (20.205,5.465,20.355,5.615)])
R(c_route_74ab7015, met2, [(19.99,-7.305,20.57,5.755), (20.065,-7.305,20.495,-6.875), (20.495,-7.305,20.57,-6.875), (20.115,-7.255,20.445,-6.925), (20.065,5.325,20.495,5.755), (20.495,5.325,20.57,5.755), (20.115,5.375,20.445,5.705)])

via_stack_5c4b7883 = lib.new_cell('via_stack_5c4b7883')
R(via_stack_5c4b7883, met1, [(-0.215,-0.215,0.215,0.215)])
R(via_stack_5c4b7883, via, [(-0.075,-0.075,0.075,0.075)])
R(via_stack_5c4b7883, met2, [(-0.215,-0.215,0.215,0.215), (-0.165,-0.165,0.165,0.165)])

via_stack_c894a9a7 = lib.new_cell('via_stack_c894a9a7')
R(via_stack_c894a9a7, met1, [(-0.75,-0.75,0.75,0.75), (-0.215,-0.215,0.215,0.215)])
R(via_stack_c894a9a7, via, [(-0.075,-0.075,0.075,0.075)])
R(via_stack_c894a9a7, met2, [(-0.29,-0.29,0.29,0.29)])
R(via_stack_c894a9a7, via2, [(-0.1,-0.1,0.1,0.1)])
R(via_stack_c894a9a7, met3, [(-0.75,-0.75,0.75,0.75)])
R(via_stack_c894a9a7, via3, [(-0.1,-0.1,0.1,0.1)])
R(via_stack_c894a9a7, met4, [(-0.17,-0.17,0.17,0.17)])

c_route_90a1c5ed = lib.new_cell('c_route_90a1c5ed')
R(c_route_90a1c5ed, met1, [(-3.045,-23.04,21.8,-22.46), (21.37,-23.04,21.8,-22.61), (11.19,21.505,21.8,22.085), (21.37,21.655,21.8,22.085)])
R(c_route_90a1c5ed, via, [(21.51,-22.9,21.66,-22.75), (21.51,21.795,21.66,21.945)])
R(c_route_90a1c5ed, met2, [(21.295,-23.04,21.875,22.085), (21.37,-23.04,21.8,-22.61), (21.8,-23.04,21.875,-22.61), (21.42,-22.99,21.75,-22.66), (21.37,21.655,21.8,22.085), (21.8,21.655,21.875,22.085), (21.42,21.705,21.75,22.035)])

c_route_feafbf71 = lib.new_cell('c_route_feafbf71')
R(c_route_feafbf71, met1, [(-21.8,-23.04,-21.37,-22.61), (-21.8,-23.04,-4.545,-22.46), (-21.8,-9.275,-11.19,-8.695), (-21.8,-9.125,-21.37,-8.695)])
R(c_route_feafbf71, via, [(-21.66,-22.9,-21.51,-22.75), (-21.66,-8.985,-21.51,-8.835)])
R(c_route_feafbf71, met2, [(-21.875,-23.04,-21.295,-8.695), (-21.8,-23.04,-21.37,-22.61), (-21.37,-23.04,-21.295,-22.61), (-21.75,-22.99,-21.42,-22.66), (-21.8,-9.125,-21.37,-8.695), (-21.37,-9.125,-21.295,-8.695), (-21.75,-9.075,-21.42,-8.745)])

shared_gate_components = lib.new_cell('shared_gate_components')
shared_gate_components.add(gdstk.Reference(multiplier_a07f7352, (-4.65,-0.22)))
shared_gate_components.add(gdstk.Reference(multiplier_22e959f4, (-1.84,-0.22)))
shared_gate_components.add(gdstk.Reference(multiplier_22e959f4, (1.84,-0.22)))
shared_gate_components.add(gdstk.Reference(multiplier_5999f575, (4.65,-0.22)))
shared_gate_components.add(gdstk.Reference(c_2_multiplier_shared_gate, (0,15.39)))
shared_gate_components.add(gdstk.Reference(c_2_multiplier_shared_gate, (0,-15.39)))
shared_gate_components.add(gdstk.Reference(straight_route_79041f12, (0,0)))
shared_gate_components.add(gdstk.Reference(straight_route_283b9338, (0,0)))
shared_gate_components.add(gdstk.Reference(route_quad_f5f0b040, (0,0)))
shared_gate_components.add(gdstk.Reference(route_quad_0f0ba6f5, (0,0)))
shared_gate_components.add(gdstk.Reference(route_quad_750bfa83, (0,0)))
shared_gate_components.add(gdstk.Reference(route_quad_2ab3f407, (0,0)))
shared_gate_components.add(gdstk.Reference(via_stack_daa6e7a5, (0,6.4)))
shared_gate_components.add(gdstk.Reference(route_quad_128533b8, (0,0)))
shared_gate_components.add(gdstk.Reference(c_route_db19c842, (0,0)))
shared_gate_components.add(gdstk.Reference(c_route_297e2d02, (0,0)))
shared_gate_components.add(gdstk.Reference(straight_route_97afe264, (0,0)))
shared_gate_components.add(gdstk.Reference(straight_route_268614ec, (0,0)))
shared_gate_components.add(gdstk.Reference(l_route_53888900, (0,0)))
shared_gate_components.add(gdstk.Reference(straight_route_ce1305f3, (0,0)))
shared_gate_components.add(gdstk.Reference(c_route_5a15a20f, (0,0)))
shared_gate_components.add(gdstk.Reference(unnamed_96bf62a7, (4.4,-8.435)))
shared_gate_components.add(gdstk.Reference(straight_route_ebdb395f, (0,0)))
shared_gate_components.add(gdstk.Reference(l_route_504ff9c7, (0,0)))
shared_gate_components.add(gdstk.Reference(c_route_2d13376d, (0,0)))
shared_gate_components.add(gdstk.Reference(l_route_aaaa4b9a, (0,0)))
shared_gate_components.add(gdstk.Reference(c_route_74ab7015, (0,0)))
shared_gate_components.add(gdstk.Reference(via_stack_5c4b7883, (-2.325,-6.95)))
shared_gate_components.add(gdstk.Reference(via_stack_c894a9a7, (-3.795,-22.75)))
shared_gate_components.add(gdstk.Reference(c_route_90a1c5ed, (0,0)))
shared_gate_components.add(gdstk.Reference(c_route_feafbf71, (0,0)))

lib.write_gds('shared_gate_components.gds')
